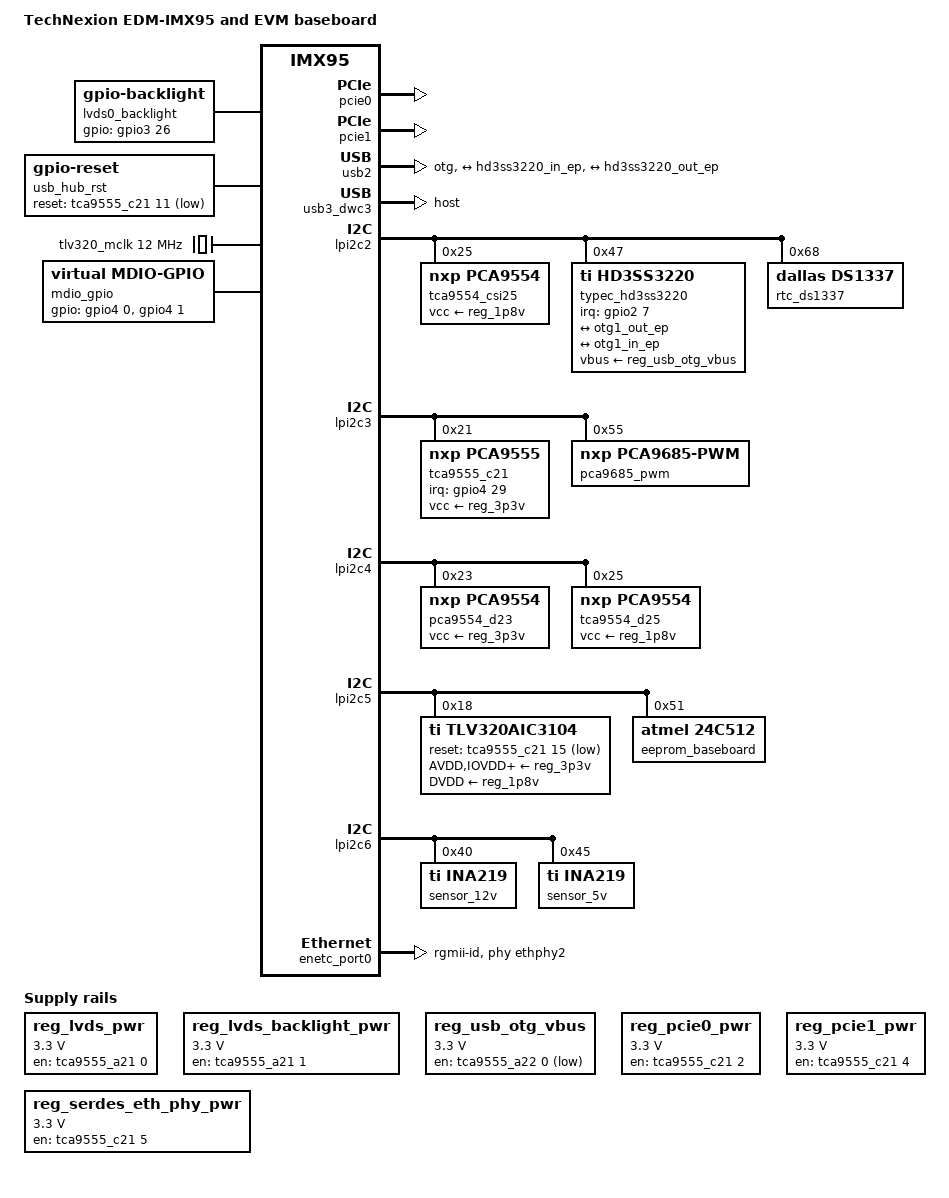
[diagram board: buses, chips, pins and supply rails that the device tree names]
// SPDX-License-Identifier: (GPL-2.0+ OR MIT)
/*
 * Copyright 2024 Technexion Ltd.
 *
 * Author: Richard Hu <richard.hu@technexion.com>
 *
 */

/dts-v1/;

#include <dt-bindings/phy/phy-imx8-pcie.h>
#include "imx95-edm.dtsi"

/ {
	model = "TechNexion EDM-IMX95 and EVM baseboard";
	compatible = "fsl,imx95-edm", "fsl,imx95";

	aliases {
		ethernet0 = &enetc_port1;
		ethernet1 = &enetc_port2;
		rtc0 = &rtc_ds1337;
		rtc1 = &scmi_bbm;
	};

	reg_lvds_pwr: regulator_lvdspwr {	/* LVDS0_VDDEN */
		compatible = "regulator-fixed";
		regulator-name = "lvds0_vdden";
		regulator-min-microvolt = <3300000>;
		regulator-max-microvolt = <3300000>;
		gpio = <&tca9555_a21 0 GPIO_ACTIVE_HIGH>;
		enable-active-high;
	};

	reg_lvds_backlight_pwr: regulator_lvdsblpwr {	/* LVDS0_BL_EN */
		compatible = "regulator-fixed";
		regulator-name = "lvds0_bl_en";
		regulator-min-microvolt = <3300000>;
		regulator-max-microvolt = <3300000>;
		gpio = <&tca9555_a21 1 GPIO_ACTIVE_HIGH>;
		enable-active-high;
		regulator-always-on;
	};

	lvds0_backlight: lvds0_backlight {
		compatible = "gpio-backlight";
		pinctrl-names = "default";
		pinctrl-0 = <&pinctrl_lvds0_backlight>;
		gpios = <&gpio3 26 GPIO_ACTIVE_HIGH>;
		default-on;
		status = "okay";
	};

	usb_hub_rst: usb_hub_rst {
		compatible = "gpio-reset";
		reset-gpios = <&tca9555_c21 11 GPIO_ACTIVE_LOW>;
		reset-delay-us = <10>;
		#reset-cells = <0>;
	};

	reg_usb_otg_vbus: usb_otg_vbus {
		compatible = "regulator-fixed";
		regulator-name = "usb_otg_vbus";
		regulator-min-microvolt = <3300000>;
		regulator-max-microvolt = <3300000>;
		gpio = <&tca9555_a22 0 GPIO_ACTIVE_LOW>;
		enable-active-low;
	};

	reg_pcie0_pwr: regulator-pcie0-pwr {	/* PCIE1 M.2 B key */
		compatible = "regulator-fixed";
		regulator-name = "PCIe slot-power";
		regulator-min-microvolt = <3300000>;
		regulator-max-microvolt = <3300000>;
		gpio = <&tca9555_c21 2 GPIO_ACTIVE_HIGH>;	/* M2_B_PWR_EN */
		enable-active-high;
	};

	reg_pcie1_pwr: regulator-pcie1-pwr {	/* PCIE2 M.2 M key_1 */
		compatible = "regulator-fixed";
		regulator-name = "PCIe slot-power";
		regulator-min-microvolt = <3300000>;
		regulator-max-microvolt = <3300000>;
		gpio = <&tca9555_c21 4 GPIO_ACTIVE_HIGH>;	/* M2_M1_PWR_EN */
		enable-active-high;
	};

	reg_serdes_eth_phy_pwr: regulator-pcie1-pwr {	/* PCIE2 M.2 M key_2 */
		compatible = "regulator-fixed";
		regulator-name = "SERDES ETH PHY PWR";
		regulator-min-microvolt = <3300000>;
		regulator-max-microvolt = <3300000>;
		gpio = <&tca9555_c21 5 GPIO_ACTIVE_HIGH>;	/*	M2_M2_PWR_EN */
		enable-active-high;
		regulator-always-on;
	};

	tlv320_mclk: clk-0 {
		#clock-cells = <0>;
		compatible = "fixed-clock";
		clock-frequency = <12000000>;
	};

	sound {
		compatible = "simple-audio-card";
		simple-audio-card,name = "tlv320aic3x-audio";
		simple-audio-card,widgets =
			"Headphone", "Headphone Jack",
			"Microphone", "Mic Jack",
			"Line", "Line Out";
		simple-audio-card,routing =
			"Headphone Jack", "HPLOUT",
			"Headphone Jack", "HPROUT",
			"Line Out", "HPLCOM",
			"Line Out", "HPRCOM",
			"MIC2R", "Mic Jack",
			"Mic Jack", "Mic Bias";
		simple-audio-card,format = "dsp_b";
		simple-audio-card,bitclock-master = <&sound_master>;
		simple-audio-card,frame-master = <&sound_master>;
		simple-audio-card,bitclock-inversion;
		status = "okay";

		simple-audio-card,cpu {
			sound-dai = <&sai3>;
		};

		sound_master: simple-audio-card,codec {
			sound-dai = <&tlv320aic3104>;
			clocks = <&tlv320_mclk>;
		};
	};

/*
	sound {
		compatible = "fsl,imx-audio-tlv320aic31xx";
		model = "tlv320aic3x-audio";
		audio-cpu = <&sai3>;
		audio-codec = <&tlv320aic3104>;
		audio-routing =
			"Headphone Jack", "HPL",
			"Headphone Jack", "HPR",
			"Ext Spk", "SPK",
			"MIC1LP", "Mic Jack",
			"MIC1RP", "Mic Jack",
			"MIC1LP", "MICBIAS",
			"MIC1RP", "MICBIAS",
			"Mic Jack", "MICBIAS";
		headset-det;
	};

	clocks {
		codec_osc: aud_mclk {
			compatible = "fixed-clock";
			#clock-cells = <0>;
			clock-frequency = <12000000>;
			clock-output-names = "codec-mclk";
		};
	};
*/
	mdio_gpio: mdio-gpio {
		compatible = "virtual,mdio-gpio";
		pinctrl-names = "default";
		pinctrl-0 = <&pinctrl_mdio_gpio>;
		gpios = <&gpio4 0 GPIO_ACTIVE_HIGH>, /* mdc */
			<&gpio4 1 GPIO_ACTIVE_HIGH>; /* mdio */
		status = "okay";

		#address-cells = <1>;
		#size-cells = <0>;

		ethphy2: ethernet-phy2@1 { /* RTL8211F on baseboard */
			compatible = "ethernet-phy-ieee802.3-c22";
			reg = <1>;
			reset-gpios = <&gpio2 13 GPIO_ACTIVE_LOW>;
			reset-assert-us = <35000>;
			reset-deassert-us = <75000>;
			eee-broken-1000t;
			realtek,aldps-disable;
			realtek,clkout-disable;
		};
	};
/*
	sound-wm8960 {
		compatible = "fsl,imx-audio-wm8960";
		model = "wm8960-audio";
		audio-cpu = <&sai3>;
		audio-codec = <&codec>;
		codec-master;
		audio-routing =
			"Headphone Jack", "HP_L",
			"Headphone Jack", "HP_R",
			"Ext Spk", "SPK_LP",
			"Ext Spk", "SPK_LN",
			"Ext Spk", "SPK_RP",
			"Ext Spk", "SPK_RN",
			"LINPUT1", "Mic Jack",
			"RINPUT1", "Mic Jack",
			"Mic Jack", "MICB",
			"AMIC", "MICB";
	};

	clocks {
		codec_osc: aud_mclk {
			compatible = "fixed-clock";
			#clock-cells = <0>;
			clock-frequency = <24000000>;
			clock-output-names = "wm8960-mclk";
		};
	};
*/
};

&pcie0 { /* PCIE1 M.2 B key */
	vpcie-supply = <&reg_pcie0_pwr>;
	status = "okay";
};

&pcie1 { /* PCIE2 M.2 M key_1 */
	vpcie-supply = <&reg_pcie1_pwr>;
	status = "okay";
};

&usb2 {
	dr_mode = "otg";
	status = "okay";

	ports {
		#address-cells = <1>;
		#size-cells = <0>;

		port@0 {
			reg = <0>;
			otg1_out_ep: endpoint {
				remote-endpoint = <&hd3ss3220_in_ep>;
			};
		};

		port@1 {
			reg = <1>;
			otg1_in_ep: endpoint {
				remote-endpoint = <&hd3ss3220_out_ep>;
			};
		};
	};
};

&usb3_dwc3 {
	dr_mode = "host";
	reset = <&usb_hub_rst>;
	status = "okay";	
};

/* I2C_CSI on EDM */
&lpi2c2 {
	status = "okay";

	tca9554_csi25: tca9554csi25@25 {
		compatible = "nxp,pca9554";
		reg = <0x25>;
		vcc-supply = <&reg_1p8v>;
		gpio-controller;
		#gpio-cells = <2>;
		status = "okay";
		gpio-line-names = "EXPOSURE_TRIG_IN1", "FLASH_OUT1", "INFO_TRIG_IN1", "CAM_SHUTTER1", "PWR1_TIME0", "PWR1_TIME1", "PWR1_TIME2", "";
	};

	typec_hd3ss3220: hd3ss3220@47 {
		compatible = "ti,hd3ss3220";
		pinctrl-names = "default";
		pinctrl-0 = <&pinctrl_hd3ss3220_irq>;
		interrupts-extended = <&gpio2 7 IRQ_TYPE_LEVEL_LOW>;
		vbus-supply = <&reg_usb_otg_vbus>;
		reg = <0x47>;

		ports {
			#address-cells = <1>;
			#size-cells = <0>;

			port@0 {
				reg = <0>;
				hd3ss3220_in_ep: endpoint {
					remote-endpoint = <&otg1_out_ep>;
				};
			};

			port@1 {
				reg = <1>;
				hd3ss3220_out_ep: endpoint {
					remote-endpoint = <&otg1_in_ep>;
				};
			};
		};
	};

	rtc_ds1337: ds1337@68 {
		compatible = "dallas,ds1337";
		reg = <0x68>;
	};
};

/* I2C_C on EDM */
&lpi2c3 {
	tca9555_c21: tca9555c21@21 {
		compatible = "nxp,pca9555";
		pinctrl-names = "default";
		pinctrl-0 = <&pinctrl_tca9555_c21_irq>;
		reg = <0x21>;
		vcc-supply = <&reg_3p3v>;
		gpio-controller;
		#gpio-cells = <2>;
		interrupt-controller;
		#interrupt-cells = <2>;
		interrupt-parent = <&gpio4>;
		interrupts = <29 IRQ_TYPE_LEVEL_LOW>;
		gpio-line-names = "M2_B_WWAN_WAKEN", "M2_B_WAN_DISABLEN", "M2_B_PWR_EN", "M2_B_RESET", "M2_M1_PWR_EN", "M2_M2_PWR_EN", "FAN_STBY", "USB_OTG_OC",
						  "RTC_INTA", "CAN1_STB", "CAN2_STB", "USB_HUB_RESET", "CSI1_PDB", "CSI2_PDB", "VCONN_FAULT", "AUD_RST";
		status = "okay";
	};

	pca9685_pwm:pca9685@55 {
		compatible = "nxp,pca9685-pwm";
		#pwm-cells = <2>;
		reg = <0x55>;
	};
};

/* I2C_D on EDM */
&lpi2c4 {
	status = "okay";

	pca9554_d23: tca9554d23@23 {
		compatible = "nxp,pca9554";
		reg = <0x23>;
		vcc-supply = <&reg_3p3v>;
		gpio-controller;
		#gpio-cells = <2>;
		status = "okay";
		gpio-line-names = "DSI1_VDDEN", "DSI1_BL_EN", "DSI1_TE", "DSI1_RST", "DSI1_INT_N", "TOUCH_RST", "EEPROM_WP", "";
	};

	tca9554_d25: tca9554d25@25 {
		compatible = "nxp,pca9554";
		reg = <0x25>;
		vcc-supply = <&reg_1p8v>;
		gpio-controller;
		#gpio-cells = <2>;
		status = "okay";
		gpio-line-names = "EXPOSURE_TRIG_IN2", "FLASH_OUT2", "INFO_TRIG_IN2", "CAM_SHUTTER2", "PWR2_TIME0", "PWR2_TIME1", "PWR2_TIME2", "";
	};
};

/* I2C_B on EDM */
&lpi2c5 {
	status = "okay";
	tlv320aic3104: tlv320aic3104@18 {
		#sound-dai-cells = <0>;
		compatible = "ti,tlv320aic3104"; /* ti,tlv320aic3x */
		reg = <0x18>;
		reset-gpios = <&tca9555_c21 15 GPIO_ACTIVE_LOW>;
		ai3x-ocmv = <0>;
		ai3x-micbias-vg = <1>;		/* 2.0V */

		/* Regulators */
		AVDD-supply = <&reg_3p3v>;
		IOVDD-supply = <&reg_3p3v>;
		DRVDD-supply = <&reg_3p3v>;
		DVDD-supply = <&reg_1p8v>;
	};

	eeprom_baseboard: eeprom@51 {
		compatible = "atmel,24c512";
		reg = <0x51>;
		pagesize = <128>;
		status = "okay";
	};
};


&lpi2c6 {
	status = "okay";

	/* Power monitor for VCC_12V_OUT */
	sensor_12v:ina219_12v@40 {
		compatible = "ti,ina219";
		reg = <0x40>;
		shunt-resistor = <2000>; /* .002 Ohm resistor = 2000 uOhms*/
	};

	/* Power monitor for VIN_5V0 */
	sensor_5v:ina219_5v@45 {
		compatible = "ti,ina219";
		reg = <0x45>;
		shunt-resistor = <2000>; /* .002 Ohm resistor = 2000 uOhms*/
	};
};

&enetc_port0 {	/* RTL8211F on baseboard */
	pinctrl-names = "default";
	pinctrl-0 = <&pinctrl_enetc0>;
	phy-handle = <&ethphy2>;
	phy-mode = "rgmii-id";
	status = "okay";
};

&scmi_iomuxc {
	pinctrl_hd3ss3220_irq: hd3ss3220_irqgrp {
		fsl,pins = <
			IMX95_PAD_GPIO_IO07__GPIO2_IO_BIT7			0x91e /* GPIO_IO1 */
		>;
	};

	pinctrl_tca9555_c21_irq: tca9555_c21_irqgrp {
		fsl,pins = <
			IMX95_PAD_CCM_CLKO4__GPIO4_IO_BIT29			0x31e /* GPIO_IO4 */
		>;
	};

	pinctrl_touch_irq: touch_irqgrp {
		fsl,pins = <
			IMX95_PAD_GPIO_IO17__GPIO2_IO_BIT17			0x31e   /* Touch INT */
		>;
	};

	pinctrl_mipi_dsi_irq: mipidsiirqgrp {
		fsl,pins = <
			IMX95_PAD_CCM_CLKO3__GPIO4_IO_BIT28			0x31e
		>;
	};
};
